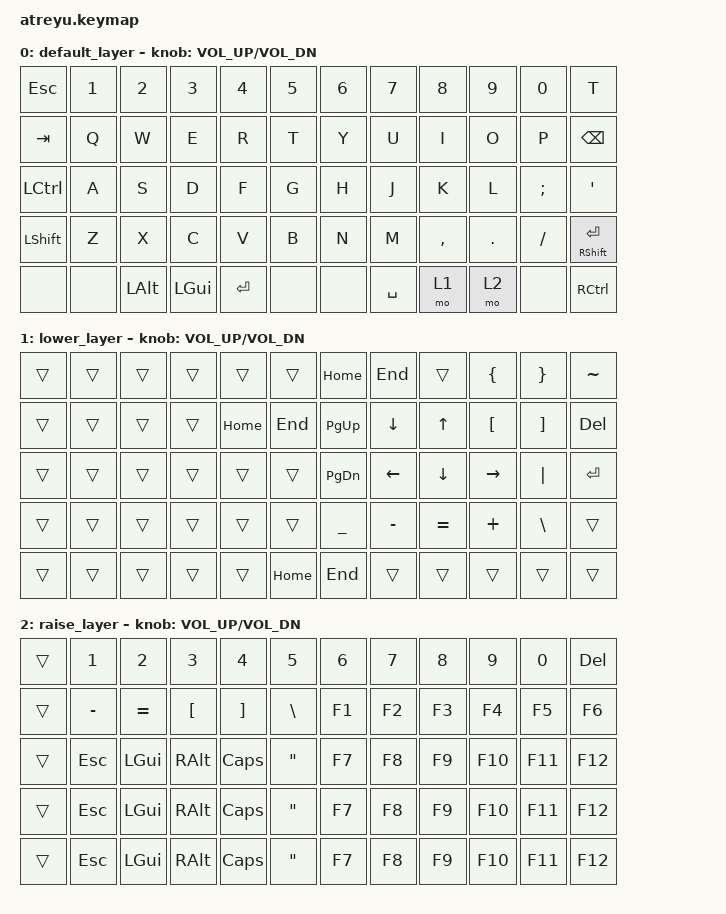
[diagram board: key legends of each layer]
/*
 * Copyright (c) 2020 The ZMK Contributors
 *
 * SPDX-License-Identifier: MIT
 */

#include <behaviors.dtsi>
#include <dt-bindings/zmk/keys.h>
#include <dt-bindings/zmk/bt.h>

/ {
        keymap {
                compatible = "zmk,keymap";

                default_layer {
                        bindings = <
   &kp ESC   &kp N1  &kp N2   &kp N3   &kp N4  &kp N5    &kp N6 &kp N7    &kp N8    &kp N9  &kp N0   &kp T
   &kp TAB   &kp Q   &kp W    &kp E    &kp R   &kp T     &kp Y  &kp U     &kp I     &kp O   &kp P    &kp BSPC
   &kp LCTRL &kp A   &kp S    &kp D    &kp F   &kp G     &kp H  &kp J     &kp K     &kp L   &kp SEMI &kp SQT
   &kp LSHFT &kp Z   &kp X    &kp C    &kp V   &kp B     &kp N  &kp M     &kp COMMA &kp DOT &kp FSLH &mt RSHFT RET
   &none     &none   &kp LALT &kp LGUI &kp RET &none     &none  &kp SPACE &mo 1     &mo 2   &none    &kp RCTRL
                        >;
			sensor-bindings = <&inc_dec_kp C_VOL_UP C_VOL_DN>;
                };

                lower_layer {
                        bindings = <
   &trans &trans &trans &trans &trans   &trans        &kp HOME  &kp END   &trans    &kp LBRC   &kp RBRC  &kp TILDE
   &trans &trans &trans &trans &kp HOME &kp END       &kp PG_UP &kp DOWN  &kp UP    &kp LBKT   &kp RBKT  &kp DEL
   &trans &trans &trans &trans &trans   &trans        &kp PG_DN &kp LEFT  &kp DOWN  &kp RIGHT  &kp PIPE  &kp RET
   &trans &trans &trans &trans &trans   &trans        &kp UNDER &kp MINUS &kp EQUAL &kp PLUS   &kp BSLH  &trans
   &trans &trans &trans &trans &trans   &kp HOME      &kp END   &trans    &trans    &trans     &trans    &trans
                        >;
			sensor-bindings = <&inc_dec_kp C_VOL_UP C_VOL_DN>;
                };

                raise_layer {
// -----------------------------------------------------------------------------------------
// |    |  1  |  2  |  3  |  4  |  5  |   |  6  |  7  |  8  |  9  |  0  | DEL |
// |    |  -  |  =  |  [  |  ]  |  \  |   | F1  | F2  | F3  | F4  | F5  | F6  |
// |    | ESC | GUI | ALT | CAPS|  "  |   | F7  | F8  | F9  | F10 | F11 | F12 |
//                       |     | ADJ | BKSP |    |     |
                        bindings = <
   &trans &kp N1    &kp N2    &kp N3    &kp N4    &kp N5        &kp N6    &kp N7    &kp N8    &kp N9    &kp N0    &kp DEL
   &trans &kp MINUS &kp EQUAL &kp LBKT  &kp RBKT  &kp BSLH      &kp F1    &kp F2    &kp F3    &kp F4    &kp F5    &kp F6
   &trans &kp ESC   &kp LGUI  &kp RALT  &kp CLCK  &kp DQT       &kp F7    &kp F8    &kp F9    &kp F10   &kp F11   &kp F12
   &trans &kp ESC   &kp LGUI  &kp RALT  &kp CLCK  &kp DQT       &kp F7    &kp F8    &kp F9    &kp F10   &kp F11   &kp F12
   &trans &kp ESC   &kp LGUI  &kp RALT  &kp CLCK  &kp DQT       &kp F7    &kp F8    &kp F9    &kp F10   &kp F11   &kp F12
//                                &trans      &mo 3       &kp BSPC        &trans      &trans
                        >;
			sensor-bindings = <&inc_dec_kp C_VOL_UP C_VOL_DN>;
                };
        };
};
